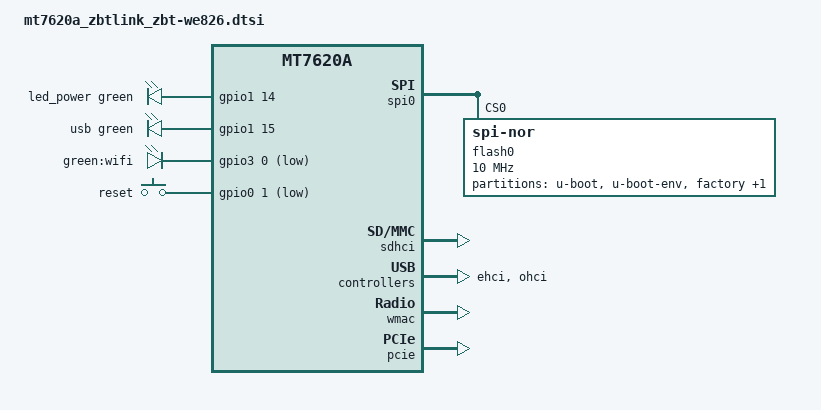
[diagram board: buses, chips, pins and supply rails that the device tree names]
#include "mt7620a.dtsi"

#include <dt-bindings/gpio/gpio.h>
#include <dt-bindings/input/input.h>
#include <dt-bindings/leds/common.h>

/ {
	compatible = "zbtlink,zbt-we826", "ralink,mt7620a-soc";

	aliases {
		led-boot = &led_power;
		led-failsafe = &led_power;
		led-running = &led_power;
		led-upgrade = &led_power;
	};

	chosen {
		bootargs = "console=ttyS0,115200";
	};

	leds {
		compatible = "gpio-leds";

		led_power: power {
			function = LED_FUNCTION_POWER;
			color = <LED_COLOR_ID_GREEN>;
			gpios = <&gpio1 14 GPIO_ACTIVE_HIGH>;
		};

		usb {
			function = LED_FUNCTION_USB;
			color = <LED_COLOR_ID_GREEN>;
			gpios = <&gpio1 15 GPIO_ACTIVE_HIGH>;
			trigger-sources = <&ohci_port1>, <&ehci_port1>;
			linux,default-trigger = "usbport";
		};

		air {
			label = "green:wifi";
			gpios = <&gpio3 0 GPIO_ACTIVE_LOW>;
		};
	};

	keys {
		compatible = "gpio-keys";

		reset {
			label = "reset";
			gpios = <&gpio0 1 GPIO_ACTIVE_LOW>;
			linux,code = <KEY_RESTART>;
		};
	};
};

&spi0 {
	status = "okay";

	flash0: flash@0 {
		compatible = "jedec,spi-nor";
		reg = <0>;
		spi-max-frequency = <10000000>;

		partitions {
			compatible = "fixed-partitions";
			#address-cells = <1>;
			#size-cells = <1>;

			partition@0 {
				label = "u-boot";
				reg = <0x0 0x30000>;
				read-only;
			};

			partition@30000 {
				label = "u-boot-env";
				reg = <0x30000 0x10000>;
				read-only;
			};

			partition@40000 {
				label = "factory";
				reg = <0x40000 0x10000>;
				read-only;

				nvmem-layout {
					compatible = "fixed-layout";
					#address-cells = <1>;
					#size-cells = <1>;

					eeprom_factory_0: eeprom@0 {
						reg = <0x0 0x200>;
					};

					macaddr_factory_4: macaddr@4 {
						reg = <0x4 0x6>;
					};
				};
			};

			firmware: partition@50000 {
				compatible = "denx,uimage";
				label = "firmware";
				/* reg property is set based on flash size in DTS files */
			};
		};
	};
};

&gpio1 {
	status = "okay";
};

&gpio3 {
	status = "okay";
};

&sdhci {
	status = "okay";
};

&ehci {
	status = "okay";
};

&ohci {
	status = "okay";
};

&ethernet {
	nvmem-cells = <&macaddr_factory_4>;
	nvmem-cell-names = "mac-address";

	mediatek,portmap = "llllw";
};

&wmac {
	nvmem-cells = <&eeprom_factory_0>;
	nvmem-cell-names = "eeprom";
};

&state_default {
	default {
		groups = "i2c", "uartf", "wled", "spi refclk", "pa";
		function = "gpio";
	};
};

&pcie {
	status = "okay";
};
